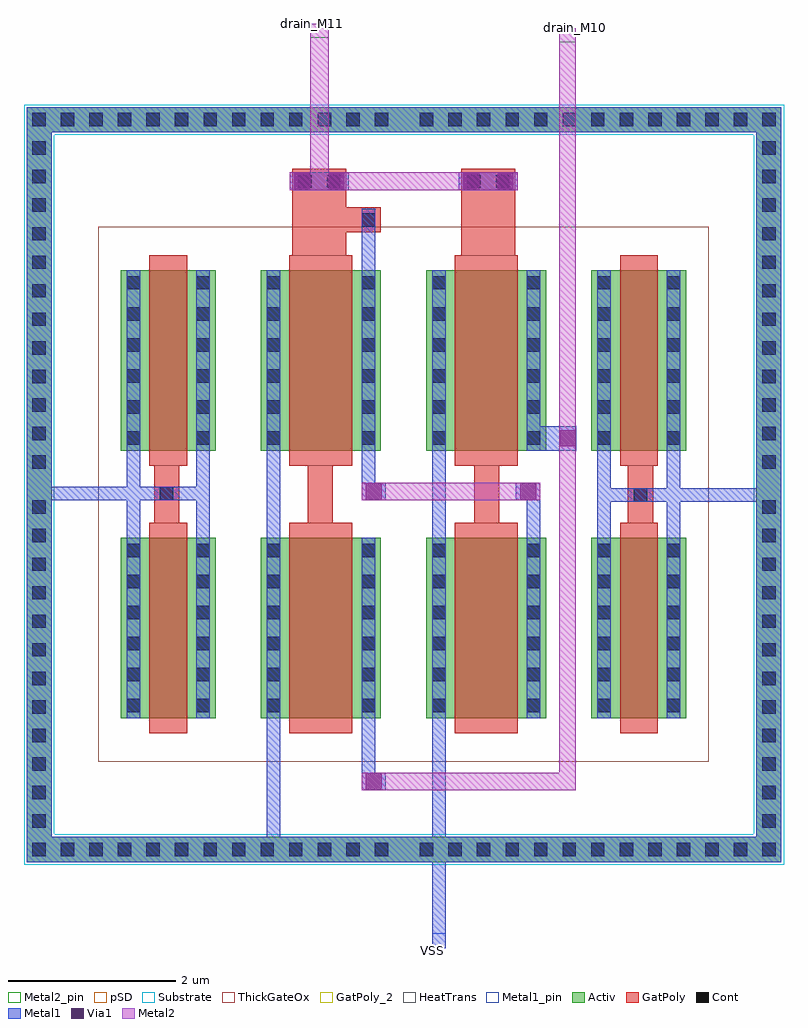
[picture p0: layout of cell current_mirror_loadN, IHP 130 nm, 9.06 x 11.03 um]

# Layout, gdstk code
from math import pi, radians
import gdstk
lib = gdstk.Library(unit=1e-6, precision=5e-09)
def R(c, l, rs):  # rectangles x0, y0, x1, y1
    for r in rs: c.add(gdstk.rectangle(r[:2], r[2:], *l))
def A(c, l, x, y, w, h, nx, ny, dx, dy):  # array of equal rectangles
    R(c, l, [(x+i*dx, y+j*dy, x+i*dx+w, y+j*dy+h) for i in range(nx) for j in range(ny)])
def P(c, l, *ps):  # polygons
    for p in ps: c.add(gdstk.Polygon(p, *l))
Activ = (1, 0)
GatPoly = (5, 0)
GatPoly_2 = (5, 2)
Cont = (6, 0)
Metal1 = (8, 0)
Metal1_pin = (8, 2)
Metal2 = (10, 0)
Metal2_pin = (10, 2)
pSD = (14, 0)
Via1 = (19, 0)
Substrate = (40, 0)
ThickGateOx = (44, 0)
HeatTrans = (51, 0)

nmoshv_3 = lib.new_cell('nmosHV$3')
R(nmoshv_3, Activ, [(0,0,0.3,0.3), (0,0,1.43,2.15), (1.13,0,1.43,0.3)])
R(nmoshv_3, GatPoly, [(0.34,-0.18,1.09,2.33)])
R(nmoshv_3, GatPoly_2, [(0.34,-0.18,1.09,2.33)])
A(nmoshv_3, Cont, 0.07, 0.07, 0.16, 0.16, 1, 6, 0, 0.37)
A(nmoshv_3, Cont, 1.2, 0.07, 0.16, 0.16, 1, 6, 0, 0.37)
R(nmoshv_3, Metal1, [(0.07,0,0.23,2.15), (1.2,0,1.36,2.15)])
R(nmoshv_3, Metal1_pin, [(0.07,0,0.23,2.15), (1.2,0,1.36,2.15)])
R(nmoshv_3, ThickGateOx, [(-0.27,-0.52,1.7,2.67)])
R(nmoshv_3, HeatTrans, [(0.34,-0.18,1.09,2.33)])
nmoshv_3.add(gdstk.Label('nmosHV', (0.715,1.075), layer=63, texttype=0))
nmoshv_3.add(gdstk.Label('nmosHV', (0.715,1.075), layer=51, texttype=0))

nmoshv_1 = lib.new_cell('nmosHV$1')
R(nmoshv_1, Activ, [(0,0,0.3,0.3), (0,0,1.13,2.15), (0.83,0,1.13,0.3)])
R(nmoshv_1, GatPoly, [(0.34,-0.18,0.79,2.33)])
R(nmoshv_1, GatPoly_2, [(0.34,-0.18,0.79,2.33)])
A(nmoshv_1, Cont, 0.07, 0.07, 0.16, 0.16, 1, 6, 0, 0.37)
A(nmoshv_1, Cont, 0.9, 0.07, 0.16, 0.16, 1, 6, 0, 0.37)
R(nmoshv_1, Metal1, [(0.07,0,0.23,2.15), (0.9,0,1.06,2.15)])
R(nmoshv_1, Metal1_pin, [(0.07,0,0.23,2.15), (0.9,0,1.06,2.15)])
R(nmoshv_1, ThickGateOx, [(-0.27,-0.52,1.4,2.67)])
R(nmoshv_1, HeatTrans, [(0.34,-0.18,0.79,2.33)])
nmoshv_1.add(gdstk.Label('nmosHV', (0.565,1.075), layer=63, texttype=0))
nmoshv_1.add(gdstk.Label('nmosHV', (0.565,1.075), layer=51, texttype=0))

guard_ring_3 = lib.new_cell('guard_ring$3')
R(guard_ring_3, Activ, [(-4.5,-4.2,-4.2,4.2), (4.2,-4.2,4.5,4.2), (-4.5,4.2,4.5,4.5)])
P(guard_ring_3, Activ, [(-4.5,-4.5),(-4.5,4.2),(-4.2,4.2),(-4.2,-4.2),(4.2,-4.2),(4.2,4.2),(-4.5,4.2),(-4.5,4.5),(4.5,4.5),(4.5,-4.5)])
A(guard_ring_3, Cont, -4.43, -4.43, 0.16, 0.16, 13, 2, 0.34, 8.7)
A(guard_ring_3, Cont, 0.19, -4.43, 0.16, 0.16, 13, 2, 0.34, 8.7)
A(guard_ring_3, Cont, -4.43, -4.09, 0.16, 0.16, 1, 12, 0, 0.34)
A(guard_ring_3, Cont, 4.27, -4.09, 0.16, 0.16, 1, 12, 0, 0.34)
A(guard_ring_3, Cont, -4.43, 0.19, 0.16, 0.16, 1, 12, 0, 0.34)
A(guard_ring_3, Cont, 4.27, 0.19, 0.16, 0.16, 1, 12, 0, 0.34)
R(guard_ring_3, Metal1, [(-4.5,-4.5,4.5,-4.2), (-4.5,-4.2,-4.2,4.2), (4.2,-4.2,4.5,4.2), (-4.5,4.2,4.5,4.5)])
R(guard_ring_3, pSD, [(-4.53,-4.17,-4.17,4.17), (4.17,-4.17,4.53,4.17), (-4.53,4.17,4.53,4.53)])
P(guard_ring_3, pSD, [(-4.53,-4.53),(-4.53,4.17),(-4.17,4.17),(-4.17,-4.17),(4.17,-4.17),(4.17,4.17),(-4.53,4.17),(-4.53,4.53),(4.53,4.53),(4.53,-4.53)])
R(guard_ring_3, Substrate, [(-4.53,-4.17,-4.17,4.17), (4.17,-4.17,4.53,4.17), (-4.53,4.17,4.53,4.53)])
P(guard_ring_3, Substrate, [(-4.53,-4.53),(-4.53,4.17),(-4.17,4.17),(-4.17,-4.17),(4.17,-4.17),(4.17,4.17),(-4.53,4.17),(-4.53,4.53),(4.53,4.53),(4.53,-4.53)])
guard_ring_3.add(gdstk.Label('sub!', (0,-4.35), layer=63, texttype=0))

via_stack_4 = lib.new_cell('via_stack$4')
R(via_stack_4, GatPoly, [(-0.32,-0.15,0.32,0.15)])
R(via_stack_4, Cont, [(-0.25,-0.08,-0.09,0.08), (0.09,-0.08,0.25,0.08)])
R(via_stack_4, Metal1, [(-0.35,-0.105,0.35,0.105)])
R(via_stack_4, Metal2, [(-0.35,-0.1,0.35,0.1)])
R(via_stack_4, Via1, [(-0.3,-0.095,-0.11,0.095), (0.11,-0.095,0.3,0.095)])

via_stack = lib.new_cell('via_stack')
R(via_stack, Metal1, [(-0.145,-0.105,0.145,0.105)])
R(via_stack, Metal2, [(-0.145,-0.1,0.145,0.1)])
R(via_stack, Via1, [(-0.095,-0.095,0.095,0.095)])

via_stack_5 = lib.new_cell('via_stack$5')
R(via_stack_5, GatPoly, [(-0.15,-0.15,0.15,0.15)])
R(via_stack_5, Cont, [(-0.08,-0.08,0.08,0.08)])
R(via_stack_5, Metal1, [(-0.13,-0.08,0.13,0.08)])

current_mirror_loadn = lib.new_cell('current_mirror_loadN')
R(current_mirror_loadn, GatPoly, [(3.25,-0.37,3.55,0.29), (-2.4,-0.35,-2.1,0.31), (1.415,-0.325,1.715,0.615), (-0.57,-0.32,-0.27,0.62), (3.25,-0.01,3.55,0.67), (-2.4,0.01,-2.1,0.69), (1.265,2.845,1.905,4.03), (-0.75,2.89,-0.11,4.03), (-0.75,3.27,0.305,3.57)])
R(current_mirror_loadn, Metal1, [(0.915,-5.265,1.075,-3.935), (-1.055,-4.235,-0.895,-2.37), (0.915,-4.235,1.075,-2.375), (0.075,-3.38,0.235,-2.29), (-2.725,-0.6,-2.565,0.9), (2.885,-0.6,3.045,0.9), (3.715,-0.6,3.875,0.9), (2.045,-0.55,2.205,0.075), (-1.895,-0.53,-1.735,0.97), (0.915,-0.525,1.075,0.815), (-1.055,-0.52,-0.895,0.82), (2.885,0.06,3.53,0.22), (3.27,0.06,5.08,0.22), (0.075,0.075,0.235,0.9), (-3.92,0.08,-1.735,0.24), (2.045,0.67,2.635,0.96), (0.075,2.82,0.235,3.325)])
R(current_mirror_loadn, Metal1_pin, [(0.915,-5.265,1.075,-5.085)])
R(current_mirror_loadn, Metal2, [(0.075,-3.38,2.63,-3.17), (2.43,-3.38,2.63,5.705), (0.075,0.075,2.205,0.285), (-0.78,3.775,1.935,3.985), (-0.54,3.775,-0.32,5.76)])
R(current_mirror_loadn, Metal2_pin, [(2.43,5.535,2.63,5.705), (-0.54,5.59,-0.32,5.76)])
current_mirror_loadn.add(gdstk.Reference(nmoshv_3, (0.845,0.67)))
current_mirror_loadn.add(gdstk.Reference(nmoshv_3, (-1.125,0.67)))
current_mirror_loadn.add(gdstk.Reference(nmoshv_3, (0.845,-2.52)))
current_mirror_loadn.add(gdstk.Reference(nmoshv_1, (2.815,0.67)))
current_mirror_loadn.add(gdstk.Reference(nmoshv_1, (2.815,-2.52)))
current_mirror_loadn.add(gdstk.Reference(nmoshv_1, (-2.795,0.67)))
current_mirror_loadn.add(gdstk.Reference(nmoshv_1, (-2.795,-2.52)))
current_mirror_loadn.add(gdstk.Reference(guard_ring_3, (0.58,0.265)))
current_mirror_loadn.add(gdstk.Reference(nmoshv_3, (-1.125,-2.52)))
current_mirror_loadn.add(gdstk.Reference(via_stack_4, (1.585,3.88)))
current_mirror_loadn.add(gdstk.Reference(via_stack_4, (-0.43,3.88)))
current_mirror_loadn.add(gdstk.Reference(via_stack, (2.06,0.18)))
current_mirror_loadn.add(gdstk.Reference(via_stack, (0.22,0.18)))
current_mirror_loadn.add(gdstk.Reference(via_stack_5, (0.155,3.42), rotation=3*pi/2))
current_mirror_loadn.add(gdstk.Reference(via_stack, (2.06,0.18)))
current_mirror_loadn.add(gdstk.Reference(via_stack, (2.53,0.815), rotation=pi/2))
current_mirror_loadn.add(gdstk.Reference(via_stack_5, (3.4,0.14)))
current_mirror_loadn.add(gdstk.Reference(via_stack, (0.22,-3.275)))
current_mirror_loadn.add(gdstk.Reference(via_stack_5, (-2.25,0.16)))
current_mirror_loadn.add(gdstk.Label('VSS', (0.915,-5.285), layer=8, texttype=0))
current_mirror_loadn.add(gdstk.Label('drain_M11', (-0.51,5.76), layer=10, texttype=0))
current_mirror_loadn.add(gdstk.Label('drain_M10', (2.63,5.715), layer=10, texttype=0))

lib.write_gds('current_mirror_loadN.gds')
